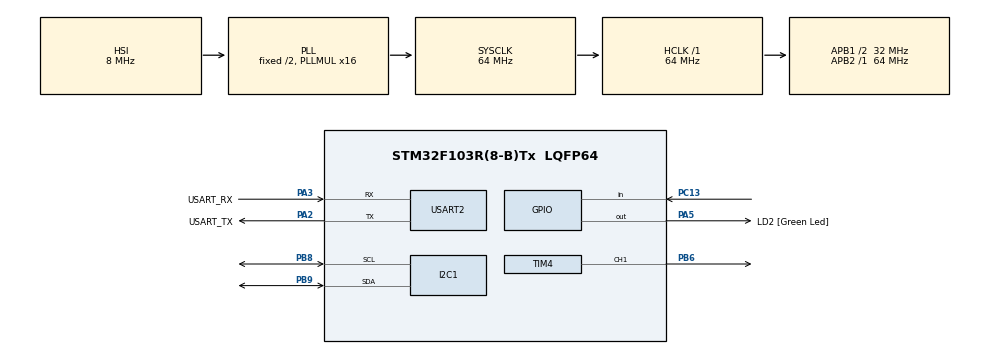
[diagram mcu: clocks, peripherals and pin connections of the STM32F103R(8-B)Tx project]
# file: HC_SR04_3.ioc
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Mcu.Family=STM32F1
Mcu.Name=STM32F103R(8-B)Tx
Mcu.Package=LQFP64
NVIC.PriorityGroup=NVIC_PRIORITYGROUP_4
PA13.GPIO_Label=TMS
PA13.Mode=Serial_Wire
PA13.Signal=SYS_JTMS-SWDIO
PA14.GPIO_Label=TCK
PA14.Mode=Serial_Wire
PA14.Signal=SYS_JTCK-SWCLK
PA2.GPIO_Label=USART_TX
PA2.GPIO_Mode=GPIO_MODE_AF_PP
PA2.GPIO_PuPd=GPIO_NOPULL
PA2.GPIO_Speed=GPIO_SPEED_FREQ_LOW
PA2.Mode=Asynchronous
PA2.Signal=USART2_TX
PA3.GPIO_Label=USART_RX
PA3.GPIO_Mode=GPIO_MODE_AF_PP
PA3.GPIO_PuPd=GPIO_NOPULL
PA3.GPIO_Speed=GPIO_SPEED_FREQ_LOW
PA3.Mode=Asynchronous
PA3.Signal=USART2_RX
PA5.GPIO_Label=LD2 [Green Led]
PA5.GPIO_ModeDefaultOutputPP=GPIO_MODE_OUTPUT_PP
PA5.GPIO_PuPd=GPIO_NOPULL
PA5.GPIO_Speed=GPIO_SPEED_FREQ_LOW
PA5.Signal=GPIO_Output
PB3.GPIO_Label=SWO
PB3.Signal=SYS_JTDO-TRACESWO
PB6.Signal=S_TIM4_CH1
PB8.Mode=I2C
PB8.Signal=I2C1_SCL
PB9.Mode=I2C
PB9.Signal=I2C1_SDA
PC13-TAMPER-RTC.Signal=GPIO_Input
PC14-OSC32_IN.Signal=RCC_OSC32_IN
PC15-OSC32_OUT.Signal=RCC_OSC32_OUT
PD0-OSC_IN.Signal=RCC_OSC_IN
PD1-OSC_OUT.Signal=RCC_OSC_OUT
ProjectManager.HeapSize=0x200
ProjectManager.StackSize=0x400
ProjectManager.TargetToolchain=STM32CubeIDE
RCC.AHBFreq_Value=64000000
RCC.APB1CLKDivider=RCC_HCLK_DIV2
RCC.APB1Freq_Value=32000000
RCC.APB1TimFreq_Value=64000000
RCC.APB2Freq_Value=64000000
RCC.APB2TimFreq_Value=64000000
RCC.HCLKFreq_Value=64000000
RCC.PLLMUL=RCC_PLL_MUL16
RCC.RTCClockSelection=RCC_RTCCLKSOURCE_LSE
RCC.SYSCLKFreq_VALUE=64000000
RCC.SYSCLKSource=RCC_SYSCLKSOURCE_PLLCLK
RCC.USBFreq_Value=64000000
SH.S_TIM4_CH1.0=TIM4_CH1,PWM Generation1 CH1
TIM1.Prescaler=64-1
TIM4.Channel-PWM\ Generation1\ CH1=TIM_CHANNEL_1
TIM4.Period=1-1
TIM4.Prescaler=64-1
USART2.VirtualMode=VM_ASYNC
VP_TIM1_VS_ClockSourceINT.Mode=Internal
VP_TIM4_VS_ClockSourceINT.Mode=Internal
board=NUCLEO-F103RB

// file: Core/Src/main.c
/* USER CODE BEGIN Header */
/**
  ******************************************************************************
  * @file           : main.c
  * @brief          : Main program body
  ******************************************************************************
  * @attention
  *
  * Copyright (c) 2025 STMicroelectronics.
  * All rights reserved.
  *
  * This software is licensed under terms that can be found in the LICENSE file
  * in the root directory of this software component.
  * If no LICENSE file comes with this software, it is provided AS-IS.
  *
  ******************************************************************************
  */
/* USER CODE END Header */
#include "main.h"

/* USER CODE BEGIN Includes */
#include "uart2_printf.h"
#include "tim1delay_us.h"
/* USER CODE END Includes */

/* USER CODE BEGIN PD */
#define TIM4COUNTERCLOCK	1000000
/*** GPIO INPUT, OUTPUT Signal Level *****/
#define HIGH 1
#define LOW 0
/*** out_of_range state ******************/
#define TRUE 1
#define FALSE 0
/* USER CODE END PD */

I2C_HandleTypeDef hi2c1;

TIM_HandleTypeDef htim1;
TIM_HandleTypeDef htim4;

UART_HandleTypeDef huart2;

/* USER CODE BEGIN PV */
uint8_t debounce_delay = 200;
long unsigned int echo_time = 0;
uint16_t dist[10]={0,};
uint8_t out_of_range = 0;
uint16_t dist_sum = 0;
uint16_t dist_avg = 0;
uint16_t distance = 0;

/* USER CODE END PV */

void SystemClock_Config(void);
static void MX_GPIO_Init(void);
static void MX_USART2_UART_Init(void);
static void MX_I2C1_Init(void);
static void MX_TIM1_Init(void);
static void MX_TIM4_Init(void);
/* USER CODE BEGIN PFP */
void trig(void);
long unsigned int echo(void);
void get_dist_10times(void);
void sort_array_dist(void);
void alarm(int freq, int on, int off);

/* USER CODE END PFP */

int main(void)
{

  /* MCU Configuration--------------------------------------------------------*/

  /* Reset of all peripherals, Initializes the Flash interface and the Systick. */
  HAL_Init();

  /* Configure the system clock */
  SystemClock_Config();

  /* Initialize all configured peripherals */
  MX_GPIO_Init();
  MX_USART2_UART_Init();
  MX_I2C1_Init();
  MX_TIM1_Init();
  MX_TIM4_Init();
  /* USER CODE BEGIN 2 */
  timer_start();
  printf("Ranging with HC-SR04\n");
  /* USER CODE END 2 */

  /* Infinite loop */
  /* USER CODE BEGIN WHILE */
  while (1)
  {
	  get_dist_10times();
	  sort_array_dist();
	  dist_sum = 0;
	  for(int i = 0+2; i < 10-2; i++){
		  dist_sum = dist_sum + dist[i];
	  }
	  distance = dist_sum / 6;

	  if(out_of_range == TRUE)
		  printf("outof ranges!\n");
	  else
	  {
		  printf("distance = %d(mm)\n", distance);
		  if(distance < 400) alarm(523, 100,  25);
		  else if(distance < 600) alarm(523, 150,  50);
		  else if(distance < 800) alarm(523, 200,  100);
		  else;
	  }
    /* USER CODE END WHILE */

  }
}

void SystemClock_Config(void)
{
  RCC_OscInitTypeDef RCC_OscInitStruct = {0};
  RCC_ClkInitTypeDef RCC_ClkInitStruct = {0};

  /** Initializes the RCC Oscillators according to the specified parameters
  * in the RCC_OscInitTypeDef structure.
  */
  RCC_OscInitStruct.OscillatorType = RCC_OSCILLATORTYPE_HSI;
  RCC_OscInitStruct.HSIState = RCC_HSI_ON;
  RCC_OscInitStruct.HSICalibrationValue = RCC_HSICALIBRATION_DEFAULT;
  RCC_OscInitStruct.PLL.PLLState = RCC_PLL_ON;
  RCC_OscInitStruct.PLL.PLLSource = RCC_PLLSOURCE_HSI_DIV2;
  RCC_OscInitStruct.PLL.PLLMUL = RCC_PLL_MUL16;
  if (HAL_RCC_OscConfig(&RCC_OscInitStruct) != HAL_OK)
  {
    Error_Handler();
  }

  /** Initializes the CPU, AHB and APB buses clocks
  */
  RCC_ClkInitStruct.ClockType = RCC_CLOCKTYPE_HCLK|RCC_CLOCKTYPE_SYSCLK
                              |RCC_CLOCKTYPE_PCLK1|RCC_CLOCKTYPE_PCLK2;
  RCC_ClkInitStruct.SYSCLKSource = RCC_SYSCLKSOURCE_PLLCLK;
  RCC_ClkInitStruct.AHBCLKDivider = RCC_SYSCLK_DIV1;
  RCC_ClkInitStruct.APB1CLKDivider = RCC_HCLK_DIV2;
  RCC_ClkInitStruct.APB2CLKDivider = RCC_HCLK_DIV1;

  if (HAL_RCC_ClockConfig(&RCC_ClkInitStruct, FLASH_LATENCY_2) != HAL_OK)
  {
    Error_Handler();
  }
}

static void MX_I2C1_Init(void)
{

  hi2c1.Instance = I2C1;
  hi2c1.Init.ClockSpeed = 100000;
  hi2c1.Init.DutyCycle = I2C_DUTYCYCLE_2;
  hi2c1.Init.OwnAddress1 = 0;
  hi2c1.Init.AddressingMode = I2C_ADDRESSINGMODE_7BIT;
  hi2c1.Init.DualAddressMode = I2C_DUALADDRESS_DISABLE;
  hi2c1.Init.OwnAddress2 = 0;
  hi2c1.Init.GeneralCallMode = I2C_GENERALCALL_DISABLE;
  hi2c1.Init.NoStretchMode = I2C_NOSTRETCH_DISABLE;
  if (HAL_I2C_Init(&hi2c1) != HAL_OK)
  {
    Error_Handler();
  }

}

static void MX_TIM1_Init(void)
{

  TIM_ClockConfigTypeDef sClockSourceConfig = {0};
  TIM_MasterConfigTypeDef sMasterConfig = {0};

  htim1.Instance = TIM1;
  htim1.Init.Prescaler = 64-1;
  htim1.Init.CounterMode = TIM_COUNTERMODE_UP;
  htim1.Init.Period = 65535;
  htim1.Init.ClockDivision = TIM_CLOCKDIVISION_DIV1;
  htim1.Init.RepetitionCounter = 0;
  htim1.Init.AutoReloadPreload = TIM_AUTORELOAD_PRELOAD_DISABLE;
  if (HAL_TIM_Base_Init(&htim1) != HAL_OK)
  {
    Error_Handler();
  }
  sClockSourceConfig.ClockSource = TIM_CLOCKSOURCE_INTERNAL;
  if (HAL_TIM_ConfigClockSource(&htim1, &sClockSourceConfig) != HAL_OK)
  {
    Error_Handler();
  }
  sMasterConfig.MasterOutputTrigger = TIM_TRGO_RESET;
  sMasterConfig.MasterSlaveMode = TIM_MASTERSLAVEMODE_DISABLE;
  if (HAL_TIMEx_MasterConfigSynchronization(&htim1, &sMasterConfig) != HAL_OK)
  {
    Error_Handler();
  }

}

static void MX_TIM4_Init(void)
{

  TIM_ClockConfigTypeDef sClockSourceConfig = {0};
  TIM_MasterConfigTypeDef sMasterConfig = {0};
  TIM_OC_InitTypeDef sConfigOC = {0};

  htim4.Instance = TIM4;
  htim4.Init.Prescaler = 64-1;
  htim4.Init.CounterMode = TIM_COUNTERMODE_UP;
  htim4.Init.Period = 1-1;
  htim4.Init.ClockDivision = TIM_CLOCKDIVISION_DIV1;
  htim4.Init.AutoReloadPreload = TIM_AUTORELOAD_PRELOAD_DISABLE;
  if (HAL_TIM_Base_Init(&htim4) != HAL_OK)
  {
    Error_Handler();
  }
  sClockSourceConfig.ClockSource = TIM_CLOCKSOURCE_INTERNAL;
  if (HAL_TIM_ConfigClockSource(&htim4, &sClockSourceConfig) != HAL_OK)
  {
    Error_Handler();
  }
  if (HAL_TIM_PWM_Init(&htim4) != HAL_OK)
  {
    Error_Handler();
  }
  sMasterConfig.MasterOutputTrigger = TIM_TRGO_RESET;
  sMasterConfig.MasterSlaveMode = TIM_MASTERSLAVEMODE_DISABLE;
  if (HAL_TIMEx_MasterConfigSynchronization(&htim4, &sMasterConfig) != HAL_OK)
  {
    Error_Handler();
  }
  sConfigOC.OCMode = TIM_OCMODE_PWM1;
  sConfigOC.Pulse = 0;
  sConfigOC.OCPolarity = TIM_OCPOLARITY_HIGH;
  sConfigOC.OCFastMode = TIM_OCFAST_DISABLE;
  if (HAL_TIM_PWM_ConfigChannel(&htim4, &sConfigOC, TIM_CHANNEL_1) != HAL_OK)
  {
    Error_Handler();
  }
  HAL_TIM_MspPostInit(&htim4);

}

static void MX_USART2_UART_Init(void)
{

  huart2.Instance = USART2;
  huart2.Init.BaudRate = 115200;
  huart2.Init.WordLength = UART_WORDLENGTH_8B;
  huart2.Init.StopBits = UART_STOPBITS_1;
  huart2.Init.Parity = UART_PARITY_NONE;
  huart2.Init.Mode = UART_MODE_TX_RX;
  huart2.Init.HwFlowCtl = UART_HWCONTROL_NONE;
  huart2.Init.OverSampling = UART_OVERSAMPLING_16;
  if (HAL_UART_Init(&huart2) != HAL_OK)
  {
    Error_Handler();
  }

}

static void MX_GPIO_Init(void)
{
  GPIO_InitTypeDef GPIO_InitStruct = {0};

  /* GPIO Ports Clock Enable */
  __HAL_RCC_GPIOC_CLK_ENABLE();
  __HAL_RCC_GPIOD_CLK_ENABLE();
  __HAL_RCC_GPIOA_CLK_ENABLE();
  __HAL_RCC_GPIOB_CLK_ENABLE();

  /*Configure GPIO pin Output Level */
  HAL_GPIO_WritePin(LD2_GPIO_Port, LD2_Pin, GPIO_PIN_RESET);

  /*Configure GPIO pin : PC13 */
  GPIO_InitStruct.Pin = GPIO_PIN_13;
  GPIO_InitStruct.Mode = GPIO_MODE_INPUT;
  GPIO_InitStruct.Pull = GPIO_NOPULL;
  HAL_GPIO_Init(GPIOC, &GPIO_InitStruct);

  /*Configure GPIO pin : LD2_Pin */
  GPIO_InitStruct.Pin = LD2_Pin;
  GPIO_InitStruct.Mode = GPIO_MODE_OUTPUT_PP;
  GPIO_InitStruct.Pull = GPIO_NOPULL;
  GPIO_InitStruct.Speed = GPIO_SPEED_FREQ_LOW;
  HAL_GPIO_Init(LD2_GPIO_Port, &GPIO_InitStruct);

}

/* USER CODE BEGIN 4 */

	/**
	 * @brief Activate HC-SR04 구동 함수( PW = 10(㎲)인 트리거 펄스 출력 )
	 * @param no param(void)
	 */
	void trig(void)
	{
		HAL_GPIO_WritePin(GPIOB, GPIO_PIN_4, HIGH);
		delay_us(10);
		HAL_GPIO_WritePin(GPIOB, GPIO_PIN_4, LOW);
	}

	/**
	 * @brief echo 신호가 HIGH를 유지하는 시간을 (㎲)단위로 측정하여 리턴한다.
	 * @param no param(void)
	 */
	long unsigned int echo(void)
	{
		long unsigned int echo = 0;

		while(HAL_GPIO_ReadPin(GPIOB, GPIO_PIN_5) == LOW){}
			  __HAL_TIM_SET_COUNTER(&htim1, 0);
			  while(HAL_GPIO_ReadPin(GPIOB, GPIO_PIN_5) == HIGH);
			  echo = __HAL_TIM_GET_COUNTER(&htim1);
		if( echo >= 240 && echo <= 23000 ) return echo;
		else return 0;
	}

	/**
		 * @brief HC-SR04 거리 측정값 10개를 dist[]에 저장하는 함수.
		 * @param no param(void)
		 */
	void get_dist_10times(void){
		trig();
		echo_time = echo();
		if(echo_time != 0){
			out_of_range = FALSE;
			for(int i = 0; i<10; i++)
			{
				dist[i] = (int)(17 * echo_time / 100);
			}
		}
		else out_of_range = TRUE;
	}

	void sort_array_dist(void) {
		 for (int i = 0; i < 9; i++) {
			 for (int j = 0; j < 9 - i; j++) {
				 if (dist[j] > dist[j + 1]) {
					 int temp = dist[j];
					 dist[j] = dist[j + 1];
					 dist[j + 1] = temp;
		            }
			 }
		 }
	}

		void alarm(int freq, int on, int off)
	{
	  	__HAL_TIM_SET_AUTORELOAD(&htim4, (int)(TIM4COUNTERCLOCK / freq));
	  	__HAL_TIM_SET_COMPARE(&htim4, TIM_CHANNEL_1, TIM4COUNTERCLOCK / freq / 2);
	    HAL_TIM_PWM_Start (&htim4, TIM_CHANNEL_1);
	    HAL_Delay (on);
	    HAL_TIM_PWM_Stop (&htim4, TIM_CHANNEL_1);
	    HAL_Delay (off);
	}
/* USER CODE END 4 */

void Error_Handler(void)
{
  __disable_irq();
  while (1)
  {
  }
}
